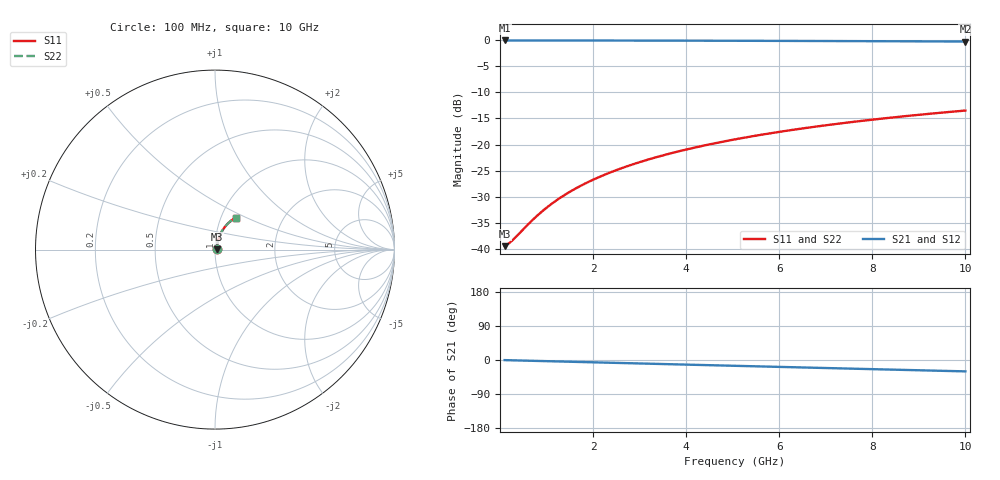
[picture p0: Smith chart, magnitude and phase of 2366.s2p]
# Hz S RI R 50.00
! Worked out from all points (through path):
!   100 points, 100 MHz to 10 GHz, reference 50 ohm
!   highest |S21| = -0.09 dB at 100 MHz (marker M1); lowest = -0.3 dB at 10 GHz (marker M2)
!   group delay of S21, straight-line fit = 8.35 ps
!   lowest |S11| = -39.4 dB at 100 MHz (marker M3), VSWR 1.02, Z = 51.1 + j0.224 ohm
!   |S11| at or under -10 dB: start of sweep to end of sweep
!   |S22| runs from -39.4 to -13.5 dB; largest |S21 - S12| = 0
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1e8  0.0105 0.0022  0.9895 -0.00526  0.9895 -0.00526  0.0105 0.0022
2e8  0.0106 0.00439  0.9894 -0.0105  0.9894 -0.0105  0.0106 0.00439
3e8  0.0107 0.00658  0.9892 -0.0158  0.9892 -0.0158  0.0107 0.00658
7e8  0.0113 0.0153  0.9884 -0.0368  0.9884 -0.0368  0.0113 0.0153
8e8  0.0115 0.0175  0.9882 -0.0421  0.9882 -0.0421  0.0115 0.0175
1e9  0.012 0.0219  0.9875 -0.0526  0.9875 -0.0526  0.012 0.0219
1.2e9  0.0125 0.0262  0.9868 -0.0631  0.9868 -0.0631  0.0125 0.0262
1.4e9  0.0132 0.0306  0.9859 -0.0735  0.9859 -0.0735  0.0132 0.0306
1.6e9  0.0139 0.0349  0.9849 -0.084  0.9849 -0.084  0.0139 0.0349
1.8e9  0.0147 0.0392  0.9837 -0.0944  0.9837 -0.0944  0.0147 0.0392
2.1e9  0.0161 0.0456  0.9817 -0.1101  0.9817 -0.1101  0.0161 0.0456
2.5e9  0.0183 0.0541  0.9787 -0.1308  0.9787 -0.1308  0.0183 0.0541
2.9e9  0.0208 0.0624  0.9751 -0.1514  0.9751 -0.1514  0.0208 0.0624
3.4e9  0.0245 0.0727  0.97 -0.177  0.97 -0.177  0.0245 0.0727
3.8e9  0.0278 0.0808  0.9653 -0.1974  0.9653 -0.1974  0.0278 0.0808
4.2e9  0.0314 0.0887  0.9601 -0.2175  0.9601 -0.2175  0.0314 0.0887
5.1e9  0.0407 0.1058  0.9468 -0.2622  0.9468 -0.2622  0.0407 0.1058
5.9e9  0.0503 0.1202  0.9329 -0.3011  0.9329 -0.3011  0.0503 0.1202
6.7e9  0.0611 0.1336  0.9173 -0.339  0.9173 -0.339  0.0611 0.1336
7.5e9  0.0728 0.1461  0.9001 -0.3758  0.9001 -0.3758  0.0728 0.1461
8.4e9  0.0872 0.1588  0.8788 -0.416  0.8788 -0.416  0.0872 0.1588
1e10  0.1151 0.1777  0.8365 -0.4835  0.8365 -0.4835  0.1151 0.1777
